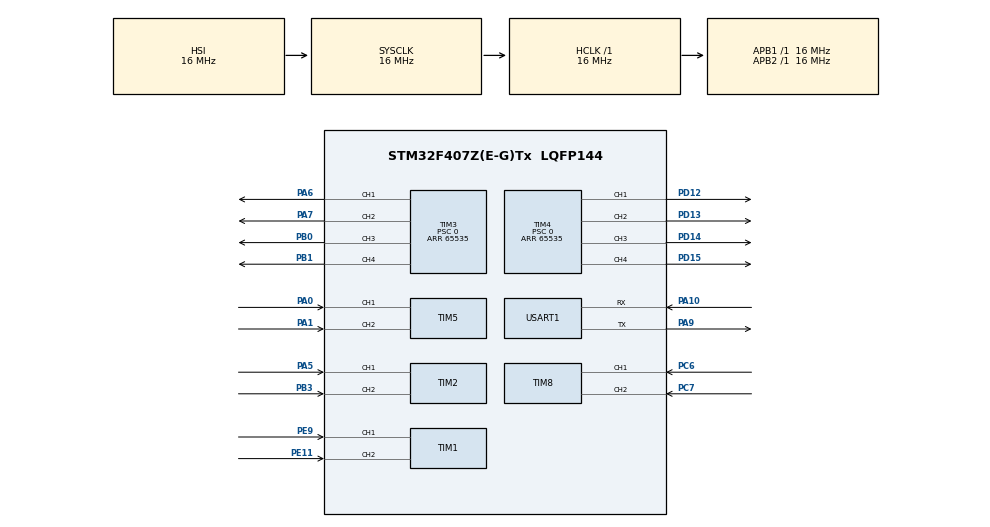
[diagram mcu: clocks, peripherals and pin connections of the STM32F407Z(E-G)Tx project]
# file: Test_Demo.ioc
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Mcu.Family=STM32F4
Mcu.Name=STM32F407Z(E-G)Tx
Mcu.Package=LQFP144
NVIC.PriorityGroup=NVIC_PRIORITYGROUP_4
NVIC.USART1_IRQn=true\:0\:0\:false\:false\:true\:true\:true
PA0-WKUP.Signal=S_TIM5_CH1
PA1.Signal=S_TIM5_CH2
PA10.Mode=Asynchronous
PA10.Signal=USART1_RX
PA5.Signal=S_TIM2_CH1_ETR
PA6.Signal=S_TIM3_CH1
PA7.Signal=S_TIM3_CH2
PA9.Mode=Asynchronous
PA9.Signal=USART1_TX
PB0.Signal=S_TIM3_CH3
PB1.Signal=S_TIM3_CH4
PB3.Signal=S_TIM2_CH2
PC6.Signal=S_TIM8_CH1
PC7.Signal=S_TIM8_CH2
PD12.Signal=S_TIM4_CH1
PD13.Signal=S_TIM4_CH2
PD14.Signal=S_TIM4_CH3
PD15.Signal=S_TIM4_CH4
PE11.Signal=S_TIM1_CH2
PE9.Signal=S_TIM1_CH1
ProjectManager.HeapSize=0x200
ProjectManager.StackSize=0x400
ProjectManager.TargetToolchain=STM32CubeIDE
RCC.AHBFreq_Value=16000000
RCC.APB1Freq_Value=16000000
RCC.APB2Freq_Value=16000000
RCC.CortexFreq_Value=16000000
RCC.HSE_VALUE=25000000
RCC.HSI_VALUE=16000000
RCC.LSE_VALUE=32768
RCC.SYSCLKFreq_VALUE=16000000
RCC.VCOOutputFreq_Value=192000000
SH.S_TIM1_CH1.0=TIM1_CH1,Encoder_Interface
SH.S_TIM1_CH2.0=TIM1_CH2,Encoder_Interface
SH.S_TIM2_CH1_ETR.0=TIM2_CH1,Encoder_Interface
SH.S_TIM2_CH2.0=TIM2_CH2,Encoder_Interface
SH.S_TIM3_CH1.0=TIM3_CH1,PWM Generation1 CH1
SH.S_TIM3_CH2.0=TIM3_CH2,PWM Generation2 CH2
SH.S_TIM3_CH3.0=TIM3_CH3,PWM Generation3 CH3
SH.S_TIM3_CH4.0=TIM3_CH4,PWM Generation4 CH4
SH.S_TIM4_CH1.0=TIM4_CH1,PWM Generation1 CH1
SH.S_TIM4_CH2.0=TIM4_CH2,PWM Generation2 CH2
SH.S_TIM4_CH3.0=TIM4_CH3,PWM Generation3 CH3
SH.S_TIM4_CH4.0=TIM4_CH4,PWM Generation4 CH4
SH.S_TIM5_CH1.0=TIM5_CH1,Encoder_Interface
SH.S_TIM5_CH2.0=TIM5_CH2,Encoder_Interface
SH.S_TIM8_CH1.0=TIM8_CH1,Encoder_Interface
SH.S_TIM8_CH2.0=TIM8_CH2,Encoder_Interface
TIM1.EncoderMode=TIM_ENCODERMODE_TI12
TIM2.EncoderMode=TIM_ENCODERMODE_TI12
TIM3.Channel-PWM\ Generation1\ CH1=TIM_CHANNEL_1
TIM3.Channel-PWM\ Generation2\ CH2=TIM_CHANNEL_2
TIM3.Channel-PWM\ Generation3\ CH3=TIM_CHANNEL_3
TIM3.Channel-PWM\ Generation4\ CH4=TIM_CHANNEL_4
TIM3.Period=65535
TIM3.Prescaler=0
TIM4.Channel-PWM\ Generation1\ CH1=TIM_CHANNEL_1
TIM4.Channel-PWM\ Generation2\ CH2=TIM_CHANNEL_2
TIM4.Channel-PWM\ Generation3\ CH3=TIM_CHANNEL_3
TIM4.Channel-PWM\ Generation4\ CH4=TIM_CHANNEL_4
TIM4.Period=65535
TIM4.Prescaler=0
TIM5.EncoderMode=TIM_ENCODERMODE_TI12
TIM8.EncoderMode=TIM_ENCODERMODE_TI12
USART1.VirtualMode=VM_ASYNC
board=custom

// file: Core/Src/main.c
/* USER CODE BEGIN Header */
/**
  ******************************************************************************
  * @file           : main.c
  * @brief          : 智能救援车底盘控�? (ROS2 工业�? PID 闭环完整�?)
  * @note           : 包含严格�? 20ms 控制任务、PID 闭环、原子操作防死锁
  ******************************************************************************
  */
/* USER CODE END Header */
#include "main.h"

/* USER CODE BEGIN Includes */
#include <stdlib.h>
#include <math.h>
/* USER CODE END Includes */

/* USER CODE BEGIN PD */
#define ENCODER_PPR 1320.0f  // 编码器单圈�?�脉冲数 (线数*减�?�比*4)
#define CTRL_DT_S   0.02f    // 控制周期 20ms (0.02�?)
/* USER CODE END PD */

TIM_HandleTypeDef htim1;
TIM_HandleTypeDef htim2;
TIM_HandleTypeDef htim3;
TIM_HandleTypeDef htim4;
TIM_HandleTypeDef htim5;
TIM_HandleTypeDef htim8;

UART_HandleTypeDef huart1;

/* USER CODE BEGIN PV */
// ==================== 1. 通信与状态变�? ====================
uint8_t rx_buffer[10];
uint8_t rx_byte;
uint8_t rx_idx = 0;

volatile int16_t target_vx = 0;
volatile int16_t target_vy = 0;
volatile int16_t target_w  = 0;

volatile uint32_t last_cmd_time = 0; // 看门狗安全时间戳
uint32_t last_ctrl_time = 0;         // 20ms 任务调度时间�?
uint32_t last_upload_time = 0;       // 编码器上传调度时间戳

uint8_t tx_buffer[12];

// ==================== 2. PID 与电机闭环结构体 ====================
typedef struct {
    float Kp, Ki, Kd;
    float err, last_err, integral;
    float max_integral, max_out;
} PID_TypeDef;

typedef struct {
    PID_TypeDef pid;
    float target_rpm;   // 目标转�??
    float current_rpm;  // 真实反馈转�??
    int16_t pwm_out;    // 输出占空�? (-100 ~ 100)
    int16_t enc_delta;  // 20ms 内的原始脉冲增量
} Motor_TypeDef;

// 数组映射: 0:左前(LF), 1:右前(RF), 2:左后(LR), 3:右后(RR)
Motor_TypeDef motors[4];
/* USER CODE END PV */

void SystemClock_Config(void);
static void MX_GPIO_Init(void);
static void MX_TIM3_Init(void);
static void MX_TIM4_Init(void);
static void MX_USART1_UART_Init(void);
static void MX_TIM2_Init(void);
static void MX_TIM5_Init(void);
static void MX_TIM1_Init(void);
static void MX_TIM8_Init(void);
/* USER CODE BEGIN PFP */
// ==================== 闭环控制核心函数声明 ====================
void PID_Init(void);
void Control_Task_20ms(void);
void Kinematics_Update(void);
void Encoder_Update(void);
void PID_Update(void);
float PID_Calc(PID_TypeDef *pid, float target, float measure);
void Chassis_SetPWM(int speed_lf, int speed_lr, int speed_rf, int speed_rr);
/* USER CODE END PFP */

/* USER CODE BEGIN 0 */
// ==================== 控制系统完整实现 ====================

// 1. PID 参数初始�? (上电执行�?�?)
void PID_Init(void) {
    for (int i = 0; i < 4; i++) {
        motors[i].pid.Kp = 1.2f;
        motors[i].pid.Ki = 0.1f;
        motors[i].pid.Kd = 0.02f;
        motors[i].pid.max_out = 100.0f;     // �?�? PWM 输出限制
        motors[i].pid.max_integral = 50.0f; // 积分抗饱和限�?

        motors[i].pid.integral = 0.0f;
        motors[i].pid.last_err = 0.0f;
        motors[i].target_rpm = 0.0f;
        motors[i].current_rpm = 0.0f;
        motors[i].pwm_out = 0;
    }
}

// 2. 运动学�?�解：将 ROS 目标速度转化为四轮目�? RPM
void Kinematics_Update(void) {
    // 保护：原子操作读取串口更新的全局变量，防止中断数据撕�?
    __disable_irq();
    int16_t vx = target_vx;
    int16_t vy = target_vy;
    int16_t w  = target_w;
    __enable_irq();

    // 500ms 看门狗：断联自动停车
    if (HAL_GetTick() - last_cmd_time > 500) {
        vx = 0; vy = 0; w = 0;
    }

    // 麦克纳姆轮标准�?�解 (注意对应你的实际安装极�??)
    motors[0].target_rpm = vx + vy - w; // 0: LF
    motors[1].target_rpm = vx - vy + w; // 1: RF
    motors[2].target_rpm = vx - vy - w; // 2: LR
    motors[3].target_rpm = vx + vy + w; // 3: RR
}

// 3. 编码器测速：读取脉冲并转换为真实 RPM
void Encoder_Update(void) {
    // 读取原始脉冲
    motors[0].enc_delta = (int16_t)__HAL_TIM_GET_COUNTER(&htim1); // LF
    motors[1].enc_delta = (int16_t)__HAL_TIM_GET_COUNTER(&htim2); // RF
    motors[2].enc_delta = (int16_t)__HAL_TIM_GET_COUNTER(&htim5); // LR
    motors[3].enc_delta = (int16_t)__HAL_TIM_GET_COUNTER(&htim8); // RR

    // 立即清空硬件计数器，为下�?�? 20ms 周期准备
    __HAL_TIM_SET_COUNTER(&htim1, 0);
    __HAL_TIM_SET_COUNTER(&htim2, 0);
    __HAL_TIM_SET_COUNTER(&htim5, 0);
    __HAL_TIM_SET_COUNTER(&htim8, 0);

    // 转化为真�? RPM�?(脉冲�? / 总分辨率) * (1 / 0.02�?) * 60�?
    float rpm_coeff = (1.0f / CTRL_DT_S) * 60.0f / ENCODER_PPR;
    for(int i = 0; i < 4; i++) {
        motors[i].current_rpm = motors[i].enc_delta * rpm_coeff;
    }
}

// 4. PID 计算与更�?
void PID_Update(void) {
    for (int i = 0; i < 4; i++) {
        motors[i].pwm_out = (int16_t)PID_Calc(&motors[i].pid, motors[i].target_rpm, motors[i].current_rpm);
    }
}

// 5. 组装 20ms 完整控制任务
void Control_Task_20ms(void) {
    Kinematics_Update();  // 步骤 A: 刷新四轮 target_rpm
    Encoder_Update();     // 步骤 B: 刷新四轮 current_rpm
    PID_Update();         // 步骤 C: 计算四轮 pwm_out

    // 步骤 D: 物理输出给电机驱�? (注意参数传�?�顺�? LF, LR, RF, RR)
    Chassis_SetPWM(motors[0].pwm_out, motors[2].pwm_out, motors[1].pwm_out, motors[3].pwm_out);
}

// 6. PID 核心算式实现
float PID_Calc(PID_TypeDef *pid, float target, float measure) {
    pid->err = target - measure;

    pid->integral += pid->err;
    if (pid->integral > pid->max_integral) pid->integral = pid->max_integral;
    else if (pid->integral < -pid->max_integral) pid->integral = -pid->max_integral;

    float out = (pid->Kp * pid->err) + (pid->Ki * pid->integral) + (pid->Kd * (pid->err - pid->last_err));
    pid->last_err = pid->err;

    if (out > pid->max_out) out = pid->max_out;
    else if (out < -pid->max_out) out = -pid->max_out;

    return out;
}

// 7. AT8236 底层 PWM 映射
void Chassis_SetPWM(int speed_lf, int speed_lr, int speed_rf, int speed_rr) {
    uint32_t arr_val = __HAL_TIM_GET_AUTORELOAD(&htim4) + 1; // 修正 ARR 获取

    if(speed_lf > 100) speed_lf = 100; else if(speed_lf < -100) speed_lf = -100;
    if(speed_lr > 100) speed_lr = 100; else if(speed_lr < -100) speed_lr = -100;
    if(speed_rf > 100) speed_rf = 100; else if(speed_rf < -100) speed_rf = -100;
    if(speed_rr > 100) speed_rr = 100; else if(speed_rr < -100) speed_rr = -100;

    uint32_t pwm_lf = (abs(speed_lf) * arr_val) / 100;
    uint32_t pwm_lr = (abs(speed_lr) * arr_val) / 100;
    uint32_t pwm_rf = (abs(speed_rf) * arr_val) / 100;
    uint32_t pwm_rr = (abs(speed_rr) * arr_val) / 100;

    // 左前 (TIM4 CH1/2) - PD12/PD13
    if (speed_lf > 0) { __HAL_TIM_SET_COMPARE(&htim4, TIM_CHANNEL_1, pwm_lf); __HAL_TIM_SET_COMPARE(&htim4, TIM_CHANNEL_2, 0); }
    else if (speed_lf < 0) { __HAL_TIM_SET_COMPARE(&htim4, TIM_CHANNEL_1, 0); __HAL_TIM_SET_COMPARE(&htim4, TIM_CHANNEL_2, pwm_lf); }
    else { __HAL_TIM_SET_COMPARE(&htim4, TIM_CHANNEL_1, 0); __HAL_TIM_SET_COMPARE(&htim4, TIM_CHANNEL_2, 0); }

    // 左后 (TIM4 CH3/4) - PD14/PD15
    if (speed_lr > 0) { __HAL_TIM_SET_COMPARE(&htim4, TIM_CHANNEL_3, pwm_lr); __HAL_TIM_SET_COMPARE(&htim4, TIM_CHANNEL_4, 0); }
    else if (speed_lr < 0) { __HAL_TIM_SET_COMPARE(&htim4, TIM_CHANNEL_3, 0); __HAL_TIM_SET_COMPARE(&htim4, TIM_CHANNEL_4, pwm_lr); }
    else { __HAL_TIM_SET_COMPARE(&htim4, TIM_CHANNEL_3, 0); __HAL_TIM_SET_COMPARE(&htim4, TIM_CHANNEL_4, 0); }

    // 右前 (TIM3 CH1/2) - PA6/PA7
    if (speed_rf > 0) { __HAL_TIM_SET_COMPARE(&htim3, TIM_CHANNEL_1, 0); __HAL_TIM_SET_COMPARE(&htim3, TIM_CHANNEL_2, pwm_rf); }
    else if (speed_rf < 0) { __HAL_TIM_SET_COMPARE(&htim3, TIM_CHANNEL_1, pwm_rf); __HAL_TIM_SET_COMPARE(&htim3, TIM_CHANNEL_2, 0); }
    else { __HAL_TIM_SET_COMPARE(&htim3, TIM_CHANNEL_1, 0); __HAL_TIM_SET_COMPARE(&htim3, TIM_CHANNEL_2, 0); }

    // 右后 (TIM3 CH3/4) - PB0/PB1
    if (speed_rr > 0) { __HAL_TIM_SET_COMPARE(&htim3, TIM_CHANNEL_3, 0); __HAL_TIM_SET_COMPARE(&htim3, TIM_CHANNEL_4, pwm_rr); }
    else if (speed_rr < 0) { __HAL_TIM_SET_COMPARE(&htim3, TIM_CHANNEL_3, pwm_rr); __HAL_TIM_SET_COMPARE(&htim3, TIM_CHANNEL_4, 0); }
    else { __HAL_TIM_SET_COMPARE(&htim3, TIM_CHANNEL_3, 0); __HAL_TIM_SET_COMPARE(&htim3, TIM_CHANNEL_4, 0); }
}
/* USER CODE END 0 */

int main(void)
{

  /* MCU Configuration--------------------------------------------------------*/

  /* Reset of all peripherals, Initializes the Flash interface and the Systick. */
  HAL_Init();

  /* Configure the system clock */
  SystemClock_Config();

  /* Initialize all configured peripherals */
  MX_GPIO_Init();
  MX_TIM3_Init();
  MX_TIM4_Init();
  MX_USART1_UART_Init();
  MX_TIM2_Init();
  MX_TIM5_Init();
  MX_TIM1_Init();
  MX_TIM8_Init();
  /* USER CODE BEGIN 2 */
  // 1. 初始�? PID 参数结构�?
  PID_Init();

  // 2. 启动 8 �? PWM
  HAL_TIM_PWM_Start(&htim4, TIM_CHANNEL_1); HAL_TIM_PWM_Start(&htim4, TIM_CHANNEL_2);
  HAL_TIM_PWM_Start(&htim4, TIM_CHANNEL_3); HAL_TIM_PWM_Start(&htim4, TIM_CHANNEL_4);
  HAL_TIM_PWM_Start(&htim3, TIM_CHANNEL_1); HAL_TIM_PWM_Start(&htim3, TIM_CHANNEL_2);
  HAL_TIM_PWM_Start(&htim3, TIM_CHANNEL_3); HAL_TIM_PWM_Start(&htim3, TIM_CHANNEL_4);
  Chassis_SetPWM(0, 0, 0, 0);

  // 3. 启动 4 个编码器
  HAL_TIM_Encoder_Start(&htim1, TIM_CHANNEL_ALL);
  HAL_TIM_Encoder_Start(&htim2, TIM_CHANNEL_ALL);
  HAL_TIM_Encoder_Start(&htim5, TIM_CHANNEL_ALL);
  HAL_TIM_Encoder_Start(&htim8, TIM_CHANNEL_ALL);

  // 4. 暴力清空串口错误标志，防止刚上电就死�?
  __HAL_UART_CLEAR_OREFLAG(&huart1);
  __HAL_UART_CLEAR_NEFLAG(&huart1);
  __HAL_UART_CLEAR_FEFLAG(&huart1);
  __HAL_UART_CLEAR_PEFLAG(&huart1);

  // 5. �?�? 1 字节接收中断
  HAL_UART_Receive_IT(&huart1, &rx_byte, 1);

  // 记录启动时间�?
  last_ctrl_time = HAL_GetTick();
  last_upload_time = HAL_GetTick();
  last_cmd_time = HAL_GetTick();
  /* USER CODE END 2 */

  /* Infinite loop */
  /* USER CODE BEGIN WHILE */
  while (1)
  {
      uint32_t current_time = HAL_GetTick();

      // ==============================================================
      // 核心任务：严�? 20ms 闭环调度任务 (频率 50Hz)
      // ==============================================================
      if (current_time - last_ctrl_time >= 20) {
          last_ctrl_time = current_time;

          Control_Task_20ms(); // 触发全套闭环解算：目�?->测�??->PID->PWM
      }

      // ==============================================================
      // ROS 上传任务�?20ms 频率上传编码器原始脉�?
      // ==============================================================
      if (current_time - last_upload_time >= 20) {
          last_upload_time = current_time;

          tx_buffer[0] = 0xAA;
          tx_buffer[1] = 0x66;
          // 直接使用�? Encoder_Update 中缓存下来的真实增量�?
          tx_buffer[2] = (motors[0].enc_delta >> 8) & 0xFF;
          tx_buffer[3] = motors[0].enc_delta & 0xFF;
          tx_buffer[4] = (motors[1].enc_delta >> 8) & 0xFF;
          tx_buffer[5] = motors[1].enc_delta & 0xFF;
          tx_buffer[6] = (motors[2].enc_delta >> 8) & 0xFF;
          tx_buffer[7] = motors[2].enc_delta & 0xFF;
          tx_buffer[8] = (motors[3].enc_delta >> 8) & 0xFF;
          tx_buffer[9] = motors[3].enc_delta & 0xFF;

          uint8_t sum = 0;
          for (int i = 2; i <= 9; i++) sum += tx_buffer[i];

          tx_buffer[10] = sum;
          tx_buffer[11] = 0x0D;

          HAL_UART_Transmit(&huart1, tx_buffer, 12, 10);
      }

      // ==============================================================
      // 串口防聋守护：如果由于静�?/干扰引发错误标志，强制重启中�?
      // ==============================================================
      if (huart1.RxState != HAL_UART_STATE_BUSY_RX) {
          __HAL_UART_CLEAR_OREFLAG(&huart1);
          __HAL_UART_CLEAR_NEFLAG(&huart1);
          __HAL_UART_CLEAR_FEFLAG(&huart1);
          huart1.RxState = HAL_UART_STATE_READY;
          huart1.Lock = HAL_UNLOCKED;
          HAL_UART_Receive_IT(&huart1, &rx_byte, 1);
      }
    /* USER CODE END WHILE */

  }
}

void SystemClock_Config(void)
{
  RCC_OscInitTypeDef RCC_OscInitStruct = {0};
  RCC_ClkInitTypeDef RCC_ClkInitStruct = {0};

  /** Configure the main internal regulator output voltage
  */
  __HAL_RCC_PWR_CLK_ENABLE();
  __HAL_PWR_VOLTAGESCALING_CONFIG(PWR_REGULATOR_VOLTAGE_SCALE1);
  /** Initializes the RCC Oscillators according to the specified parameters
  * in the RCC_OscInitTypeDef structure.
  */
  RCC_OscInitStruct.OscillatorType = RCC_OSCILLATORTYPE_HSI;
  RCC_OscInitStruct.HSIState = RCC_HSI_ON;
  RCC_OscInitStruct.HSICalibrationValue = RCC_HSICALIBRATION_DEFAULT;
  RCC_OscInitStruct.PLL.PLLState = RCC_PLL_NONE;
  if (HAL_RCC_OscConfig(&RCC_OscInitStruct) != HAL_OK)
  {
    Error_Handler();
  }
  /** Initializes the CPU, AHB and APB buses clocks
  */
  RCC_ClkInitStruct.ClockType = RCC_CLOCKTYPE_HCLK|RCC_CLOCKTYPE_SYSCLK
                              |RCC_CLOCKTYPE_PCLK1|RCC_CLOCKTYPE_PCLK2;
  RCC_ClkInitStruct.SYSCLKSource = RCC_SYSCLKSOURCE_HSI;
  RCC_ClkInitStruct.AHBCLKDivider = RCC_SYSCLK_DIV1;
  RCC_ClkInitStruct.APB1CLKDivider = RCC_HCLK_DIV1;
  RCC_ClkInitStruct.APB2CLKDivider = RCC_HCLK_DIV1;

  if (HAL_RCC_ClockConfig(&RCC_ClkInitStruct, FLASH_LATENCY_0) != HAL_OK)
  {
    Error_Handler();
  }
}

static void MX_TIM1_Init(void)
{

  TIM_Encoder_InitTypeDef sConfig = {0};
  TIM_MasterConfigTypeDef sMasterConfig = {0};

  htim1.Instance = TIM1;
  htim1.Init.Prescaler = 0;
  htim1.Init.CounterMode = TIM_COUNTERMODE_UP;
  htim1.Init.Period = 65535;
  htim1.Init.ClockDivision = TIM_CLOCKDIVISION_DIV1;
  htim1.Init.RepetitionCounter = 0;
  htim1.Init.AutoReloadPreload = TIM_AUTORELOAD_PRELOAD_DISABLE;
  sConfig.EncoderMode = TIM_ENCODERMODE_TI12;
  sConfig.IC1Polarity = TIM_ICPOLARITY_RISING;
  sConfig.IC1Selection = TIM_ICSELECTION_DIRECTTI;
  sConfig.IC1Prescaler = TIM_ICPSC_DIV1;
  sConfig.IC1Filter = 0;
  sConfig.IC2Polarity = TIM_ICPOLARITY_RISING;
  sConfig.IC2Selection = TIM_ICSELECTION_DIRECTTI;
  sConfig.IC2Prescaler = TIM_ICPSC_DIV1;
  sConfig.IC2Filter = 0;
  if (HAL_TIM_Encoder_Init(&htim1, &sConfig) != HAL_OK)
  {
    Error_Handler();
  }
  sMasterConfig.MasterOutputTrigger = TIM_TRGO_RESET;
  sMasterConfig.MasterSlaveMode = TIM_MASTERSLAVEMODE_DISABLE;
  if (HAL_TIMEx_MasterConfigSynchronization(&htim1, &sMasterConfig) != HAL_OK)
  {
    Error_Handler();
  }

}

static void MX_TIM2_Init(void)
{

  TIM_Encoder_InitTypeDef sConfig = {0};
  TIM_MasterConfigTypeDef sMasterConfig = {0};

  htim2.Instance = TIM2;
  htim2.Init.Prescaler = 0;
  htim2.Init.CounterMode = TIM_COUNTERMODE_UP;
  htim2.Init.Period = 4294967295;
  htim2.Init.ClockDivision = TIM_CLOCKDIVISION_DIV1;
  htim2.Init.AutoReloadPreload = TIM_AUTORELOAD_PRELOAD_DISABLE;
  sConfig.EncoderMode = TIM_ENCODERMODE_TI12;
  sConfig.IC1Polarity = TIM_ICPOLARITY_RISING;
  sConfig.IC1Selection = TIM_ICSELECTION_DIRECTTI;
  sConfig.IC1Prescaler = TIM_ICPSC_DIV1;
  sConfig.IC1Filter = 0;
  sConfig.IC2Polarity = TIM_ICPOLARITY_RISING;
  sConfig.IC2Selection = TIM_ICSELECTION_DIRECTTI;
  sConfig.IC2Prescaler = TIM_ICPSC_DIV1;
  sConfig.IC2Filter = 0;
  if (HAL_TIM_Encoder_Init(&htim2, &sConfig) != HAL_OK)
  {
    Error_Handler();
  }
  sMasterConfig.MasterOutputTrigger = TIM_TRGO_RESET;
  sMasterConfig.MasterSlaveMode = TIM_MASTERSLAVEMODE_DISABLE;
  if (HAL_TIMEx_MasterConfigSynchronization(&htim2, &sMasterConfig) != HAL_OK)
  {
    Error_Handler();
  }

}

static void MX_TIM3_Init(void)
{

  TIM_MasterConfigTypeDef sMasterConfig = {0};
  TIM_OC_InitTypeDef sConfigOC = {0};

  htim3.Instance = TIM3;
  htim3.Init.Prescaler = 0;
  htim3.Init.CounterMode = TIM_COUNTERMODE_UP;
  htim3.Init.Period = 65535;
  htim3.Init.ClockDivision = TIM_CLOCKDIVISION_DIV1;
  htim3.Init.AutoReloadPreload = TIM_AUTORELOAD_PRELOAD_DISABLE;
  if (HAL_TIM_PWM_Init(&htim3) != HAL_OK)
  {
    Error_Handler();
  }
  sMasterConfig.MasterOutputTrigger = TIM_TRGO_RESET;
  sMasterConfig.MasterSlaveMode = TIM_MASTERSLAVEMODE_DISABLE;
  if (HAL_TIMEx_MasterConfigSynchronization(&htim3, &sMasterConfig) != HAL_OK)
  {
    Error_Handler();
  }
  sConfigOC.OCMode = TIM_OCMODE_PWM1;
  sConfigOC.Pulse = 0;
  sConfigOC.OCPolarity = TIM_OCPOLARITY_HIGH;
  sConfigOC.OCFastMode = TIM_OCFAST_DISABLE;
  if (HAL_TIM_PWM_ConfigChannel(&htim3, &sConfigOC, TIM_CHANNEL_1) != HAL_OK)
  {
    Error_Handler();
  }
  if (HAL_TIM_PWM_ConfigChannel(&htim3, &sConfigOC, TIM_CHANNEL_2) != HAL_OK)
  {
    Error_Handler();
  }
  if (HAL_TIM_PWM_ConfigChannel(&htim3, &sConfigOC, TIM_CHANNEL_3) != HAL_OK)
  {
    Error_Handler();
  }
  if (HAL_TIM_PWM_ConfigChannel(&htim3, &sConfigOC, TIM_CHANNEL_4) != HAL_OK)
  {
    Error_Handler();
  }
  HAL_TIM_MspPostInit(&htim3);

}

static void MX_TIM4_Init(void)
{

  TIM_MasterConfigTypeDef sMasterConfig = {0};
  TIM_OC_InitTypeDef sConfigOC = {0};

  htim4.Instance = TIM4;
  htim4.Init.Prescaler = 0;
  htim4.Init.CounterMode = TIM_COUNTERMODE_UP;
  htim4.Init.Period = 65535;
  htim4.Init.ClockDivision = TIM_CLOCKDIVISION_DIV1;
  htim4.Init.AutoReloadPreload = TIM_AUTORELOAD_PRELOAD_DISABLE;
  if (HAL_TIM_PWM_Init(&htim4) != HAL_OK)
  {
    Error_Handler();
  }
  sMasterConfig.MasterOutputTrigger = TIM_TRGO_RESET;
  sMasterConfig.MasterSlaveMode = TIM_MASTERSLAVEMODE_DISABLE;
  if (HAL_TIMEx_MasterConfigSynchronization(&htim4, &sMasterConfig) != HAL_OK)
  {
    Error_Handler();
  }
  sConfigOC.OCMode = TIM_OCMODE_PWM1;
  sConfigOC.Pulse = 0;
  sConfigOC.OCPolarity = TIM_OCPOLARITY_HIGH;
  sConfigOC.OCFastMode = TIM_OCFAST_DISABLE;
  if (HAL_TIM_PWM_ConfigChannel(&htim4, &sConfigOC, TIM_CHANNEL_1) != HAL_OK)
  {
    Error_Handler();
  }
  if (HAL_TIM_PWM_ConfigChannel(&htim4, &sConfigOC, TIM_CHANNEL_2) != HAL_OK)
  {
    Error_Handler();
  }
  if (HAL_TIM_PWM_ConfigChannel(&htim4, &sConfigOC, TIM_CHANNEL_3) != HAL_OK)
  {
    Error_Handler();
  }
  if (HAL_TIM_PWM_ConfigChannel(&htim4, &sConfigOC, TIM_CHANNEL_4) != HAL_OK)
  {
    Error_Handler();
  }
  HAL_TIM_MspPostInit(&htim4);

}

static void MX_TIM5_Init(void)
{

  TIM_Encoder_InitTypeDef sConfig = {0};
  TIM_MasterConfigTypeDef sMasterConfig = {0};

  htim5.Instance = TIM5;
  htim5.Init.Prescaler = 0;
  htim5.Init.CounterMode = TIM_COUNTERMODE_UP;
  htim5.Init.Period = 4294967295;
  htim5.Init.ClockDivision = TIM_CLOCKDIVISION_DIV1;
  htim5.Init.AutoReloadPreload = TIM_AUTORELOAD_PRELOAD_DISABLE;
  sConfig.EncoderMode = TIM_ENCODERMODE_TI12;
  sConfig.IC1Polarity = TIM_ICPOLARITY_RISING;
  sConfig.IC1Selection = TIM_ICSELECTION_DIRECTTI;
  sConfig.IC1Prescaler = TIM_ICPSC_DIV1;
  sConfig.IC1Filter = 0;
  sConfig.IC2Polarity = TIM_ICPOLARITY_RISING;
  sConfig.IC2Selection = TIM_ICSELECTION_DIRECTTI;
  sConfig.IC2Prescaler = TIM_ICPSC_DIV1;
  sConfig.IC2Filter = 0;
  if (HAL_TIM_Encoder_Init(&htim5, &sConfig) != HAL_OK)
  {
    Error_Handler();
  }
  sMasterConfig.MasterOutputTrigger = TIM_TRGO_RESET;
  sMasterConfig.MasterSlaveMode = TIM_MASTERSLAVEMODE_DISABLE;
  if (HAL_TIMEx_MasterConfigSynchronization(&htim5, &sMasterConfig) != HAL_OK)
  {
    Error_Handler();
  }

}

static void MX_TIM8_Init(void)
{

  TIM_Encoder_InitTypeDef sConfig = {0};
  TIM_MasterConfigTypeDef sMasterConfig = {0};

  htim8.Instance = TIM8;
  htim8.Init.Prescaler = 0;
  htim8.Init.CounterMode = TIM_COUNTERMODE_UP;
  htim8.Init.Period = 65535;
  htim8.Init.ClockDivision = TIM_CLOCKDIVISION_DIV1;
  htim8.Init.RepetitionCounter = 0;
  htim8.Init.AutoReloadPreload = TIM_AUTORELOAD_PRELOAD_DISABLE;
  sConfig.EncoderMode = TIM_ENCODERMODE_TI12;
  sConfig.IC1Polarity = TIM_ICPOLARITY_RISING;
  sConfig.IC1Selection = TIM_ICSELECTION_DIRECTTI;
  sConfig.IC1Prescaler = TIM_ICPSC_DIV1;
  sConfig.IC1Filter = 0;
  sConfig.IC2Polarity = TIM_ICPOLARITY_RISING;
  sConfig.IC2Selection = TIM_ICSELECTION_DIRECTTI;
  sConfig.IC2Prescaler = TIM_ICPSC_DIV1;
  sConfig.IC2Filter = 0;
  if (HAL_TIM_Encoder_Init(&htim8, &sConfig) != HAL_OK)
  {
    Error_Handler();
  }
  sMasterConfig.MasterOutputTrigger = TIM_TRGO_RESET;
  sMasterConfig.MasterSlaveMode = TIM_MASTERSLAVEMODE_DISABLE;
  if (HAL_TIMEx_MasterConfigSynchronization(&htim8, &sMasterConfig) != HAL_OK)
  {
    Error_Handler();
  }

}

static void MX_USART1_UART_Init(void)
{

  huart1.Instance = USART1;
  huart1.Init.BaudRate = 115200;
  huart1.Init.WordLength = UART_WORDLENGTH_8B;
  huart1.Init.StopBits = UART_STOPBITS_1;
  huart1.Init.Parity = UART_PARITY_NONE;
  huart1.Init.Mode = UART_MODE_TX_RX;
  huart1.Init.HwFlowCtl = UART_HWCONTROL_NONE;
  huart1.Init.OverSampling = UART_OVERSAMPLING_16;
  if (HAL_UART_Init(&huart1) != HAL_OK)
  {
    Error_Handler();
  }

}

static void MX_GPIO_Init(void)
{

  /* GPIO Ports Clock Enable */
  __HAL_RCC_GPIOA_CLK_ENABLE();
  __HAL_RCC_GPIOB_CLK_ENABLE();
  __HAL_RCC_GPIOE_CLK_ENABLE();
  __HAL_RCC_GPIOD_CLK_ENABLE();
  __HAL_RCC_GPIOC_CLK_ENABLE();

}

/* USER CODE BEGIN 4 */
// ==============================================================
// 串口中断解析机制：滑动窗口解决脏数据及错位问�?
// ==============================================================
void HAL_UART_RxCpltCallback(UART_HandleTypeDef *huart) {
    if(huart->Instance == USART1) {

        // 新数据从尾部推入
        rx_buffer[9] = rx_byte;

        // 校验 10 字节协议�?
        if(rx_buffer[0] == 0xAA && rx_buffer[1] == 0x55 && rx_buffer[9] == 0x0D) {
            uint8_t sum = 0;
            for(int i = 2; i <= 7; i++) sum += rx_buffer[i];

            if(sum == rx_buffer[8]) {
                target_vx = (int16_t)((rx_buffer[2] << 8) | rx_buffer[3]);
                target_vy = (int16_t)((rx_buffer[4] << 8) | rx_buffer[5]);
                target_w  = (int16_t)((rx_buffer[6] << 8) | rx_buffer[7]);

                last_cmd_time = HAL_GetTick(); // 更新通信安全看门�?

                // 清空缓冲区，防止同一有效包被重复识别
                for(int i = 0; i < 10; i++) {
                    rx_buffer[i] = 0;
                }
            } else {
                // 校验失败，整体前移一格丢弃脏数据
                for(int i = 0; i < 9; i++) rx_buffer[i] = rx_buffer[i+1];
            }
        } else {
            // 包头尾未对齐，整体前移一格滑�?
            for(int i = 0; i < 9; i++) rx_buffer[i] = rx_buffer[i+1];
        }

        HAL_UART_Receive_IT(&huart1, &rx_byte, 1);
    }
}

// 错误中断兜底回调
void HAL_UART_ErrorCallback(UART_HandleTypeDef *huart) {
    if(huart->Instance == USART1) {
        __HAL_UART_CLEAR_OREFLAG(huart);
        __HAL_UART_CLEAR_NEFLAG(huart);
        __HAL_UART_CLEAR_FEFLAG(huart);
        __HAL_UART_CLEAR_PEFLAG(huart);

        HAL_UART_AbortReceive_IT(huart);
        HAL_UART_Receive_IT(&huart1, &rx_byte, 1);
    }
}
/* USER CODE END 4 */

void Error_Handler(void)
{
  __disable_irq();
  while (1)
  {
  }
}
